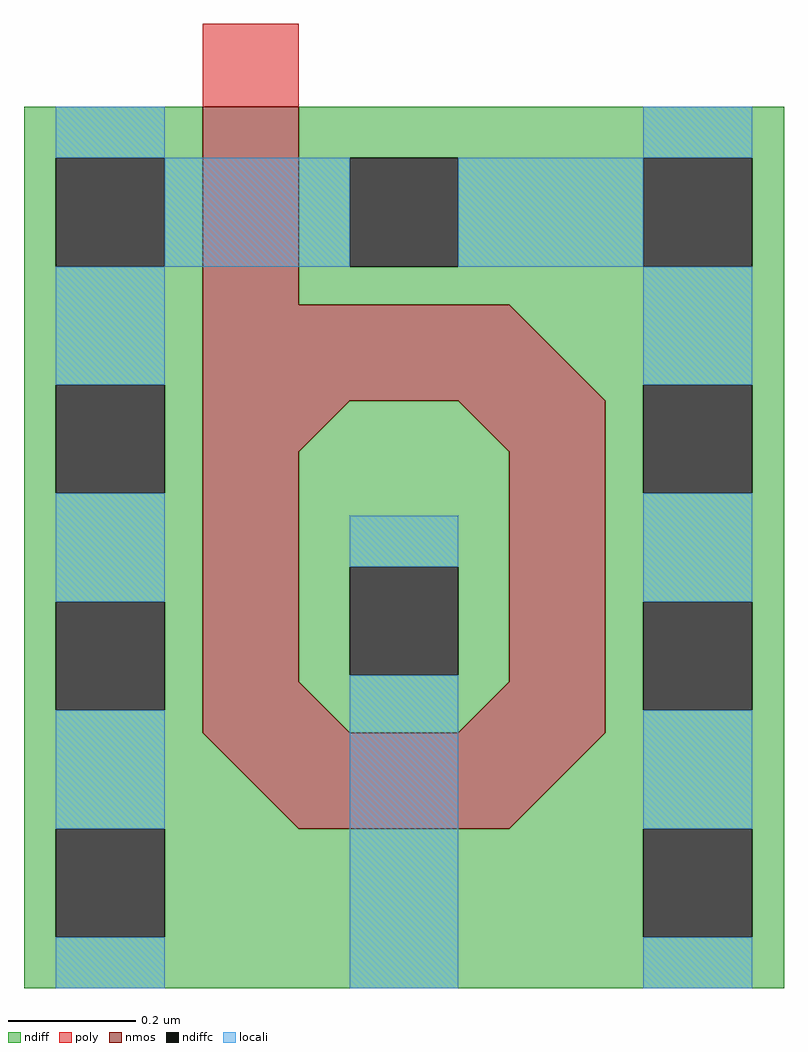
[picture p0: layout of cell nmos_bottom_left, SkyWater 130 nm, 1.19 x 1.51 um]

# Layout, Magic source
magic
tech sky130A
magscale 1 2
<< nmos >>
rect 11 150 41 212
rect 11 120 107 150
tri 107 120 137 150 sw
rect 11 112 49 120
tri 49 112 57 120 nw
tri 91 112 99 120 ne
rect 99 112 137 120
rect 11 31 41 112
tri 41 104 49 112 nw
tri 99 104 107 112 ne
tri 41 31 42 32 sw
tri 106 31 107 32 se
rect 107 31 137 112
rect 11 30 42 31
tri 42 30 43 31 sw
tri 105 30 106 31 se
rect 106 30 137 31
rect 11 29 43 30
tri 43 29 44 30 sw
tri 104 29 105 30 se
rect 105 29 137 30
rect 11 28 44 29
tri 44 28 45 29 sw
tri 103 28 104 29 se
rect 104 28 137 29
rect 11 27 45 28
tri 45 27 46 28 sw
tri 102 27 103 28 se
rect 103 27 137 28
rect 11 26 46 27
tri 46 26 47 27 sw
tri 101 26 102 27 se
rect 102 26 137 27
rect 11 25 47 26
tri 47 25 48 26 sw
tri 100 25 101 26 se
rect 101 25 137 26
rect 11 24 48 25
tri 48 24 49 25 sw
tri 99 24 100 25 se
rect 100 24 137 25
rect 11 23 49 24
tri 49 23 50 24 sw
tri 98 23 99 24 se
rect 99 23 137 24
rect 11 22 50 23
tri 50 22 51 23 sw
tri 97 22 98 23 se
rect 98 22 137 23
rect 11 21 51 22
tri 51 21 52 22 sw
tri 96 21 97 22 se
rect 97 21 137 22
rect 11 16 52 21
tri 52 16 57 21 sw
tri 95 20 96 21 se
rect 96 20 137 21
tri 91 16 95 20 se
rect 95 16 137 20
tri 11 -14 41 16 ne
rect 41 -14 107 16
tri 107 -14 137 16 nw
<< ndiff >>
rect -45 196 11 212
rect -45 162 -35 196
rect -1 162 11 196
rect -45 125 11 162
rect 41 196 193 212
rect 41 162 57 196
rect 91 162 149 196
rect 183 162 193 196
rect 41 150 193 162
rect -45 91 -35 125
rect -1 91 11 125
tri 107 120 137 150 ne
rect 137 125 193 150
tri 49 112 57 120 se
rect 57 112 91 120
tri 91 112 99 120 sw
rect -45 57 11 91
rect -45 23 -35 57
rect -1 23 11 57
tri 41 104 49 112 se
rect 49 104 99 112
tri 99 104 107 112 sw
rect 41 68 107 104
rect 41 34 57 68
rect 91 34 107 68
rect 41 32 107 34
tri 41 31 42 32 ne
rect 42 31 106 32
tri 106 31 107 32 nw
rect 137 91 149 125
rect 183 91 193 125
rect 137 57 193 91
tri 42 30 43 31 ne
rect 43 30 105 31
tri 105 30 106 31 nw
tri 43 29 44 30 ne
rect 44 29 104 30
tri 104 29 105 30 nw
tri 44 28 45 29 ne
rect 45 28 103 29
tri 103 28 104 29 nw
tri 45 27 46 28 ne
rect 46 27 102 28
tri 102 27 103 28 nw
tri 46 26 47 27 ne
rect 47 26 101 27
tri 101 26 102 27 nw
tri 47 25 48 26 ne
rect 48 25 100 26
tri 100 25 101 26 nw
tri 48 24 49 25 ne
rect 49 24 99 25
tri 99 24 100 25 nw
tri 49 23 50 24 ne
rect 50 23 98 24
tri 98 23 99 24 nw
rect 137 23 149 57
rect 183 23 193 57
rect -45 -14 11 23
tri 50 22 51 23 ne
rect 51 22 97 23
tri 97 22 98 23 nw
tri 51 21 52 22 ne
rect 52 21 96 22
tri 96 21 97 22 nw
tri 52 16 57 21 ne
rect 57 20 95 21
tri 95 20 96 21 nw
rect 57 16 91 20
tri 91 16 95 20 nw
tri 11 -14 41 16 sw
tri 107 -14 137 16 se
rect 137 -14 193 23
rect -45 -48 -35 -14
rect -1 -48 149 -14
rect 183 -48 193 -14
rect -45 -64 193 -48
<< ndiffc >>
rect -35 162 -1 196
rect 57 162 91 196
rect 149 162 183 196
rect -35 91 -1 125
rect -35 23 -1 57
rect 57 34 91 68
rect 149 91 183 125
rect 149 23 183 57
rect -35 -48 -1 -14
rect 149 -48 183 -14
<< poly >>
rect 11 212 41 238
<< locali >>
rect -35 196 -1 212
rect 149 196 183 212
rect -1 162 57 196
rect 91 162 149 196
rect -35 125 -1 162
rect -35 57 -1 91
rect 149 125 183 162
rect -35 -14 -1 23
rect -35 -64 -1 -48
rect 57 68 91 84
rect 57 -64 91 34
rect 149 57 183 91
rect 149 -14 183 23
rect 149 -64 183 -48
<< end >>
